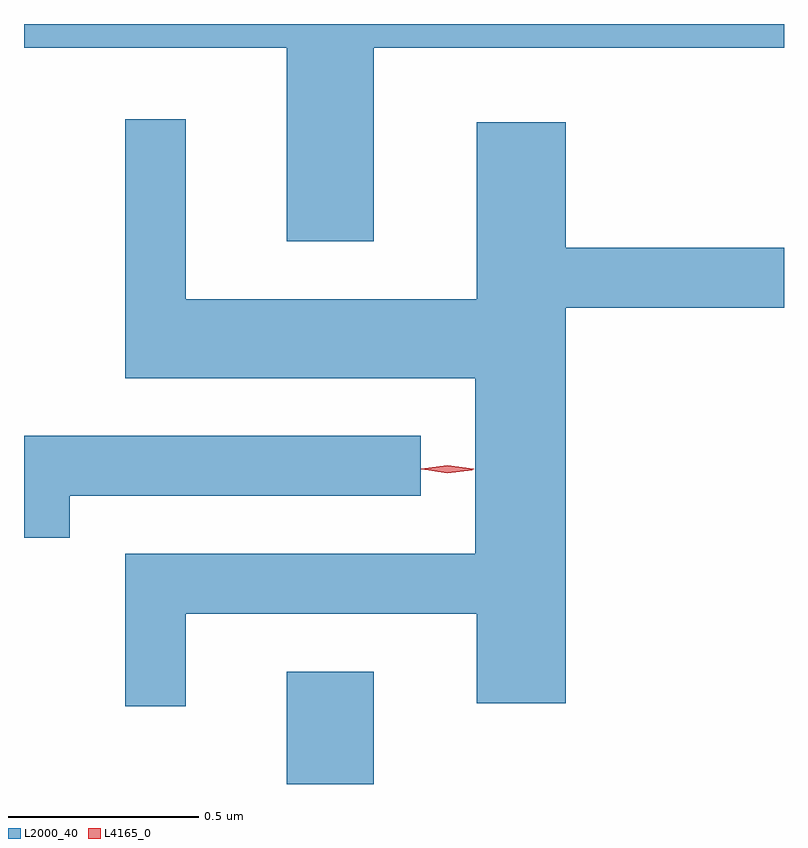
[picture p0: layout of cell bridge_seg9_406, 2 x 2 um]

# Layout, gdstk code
import gdstk
lib = gdstk.Library(unit=1e-6, precision=1e-09)
def R(c, l, rs):  # rectangles x0, y0, x1, y1
    for r in rs: c.add(gdstk.rectangle(r[:2], r[2:], *l))
def P(c, l, *ps):  # polygons
    for p in ps: c.add(gdstk.Polygon(p, *l))
L2000_40 = (2000, 40)
L4165_0 = (4165, 0)

bridge_seg9_406 = lib.new_cell('bridge_seg9_406')
R(bridge_seg9_406, L2000_40, [(1020.621,1947.698,1020.849,1947.994)])
P(bridge_seg9_406, L2000_40, [(1020.849,1949.636),(1021.929,1949.636),(1021.929,1949.698),(1019.929,1949.698),(1019.929,1949.636),(1020.621,1949.636),(1020.621,1949.126),(1020.849,1949.126)],
  [(1020.354,1948.146),(1021.121,1948.146),(1021.121,1947.911),(1021.354,1947.911),(1021.354,1948.951),(1021.929,1948.951),(1021.929,1949.109),(1021.354,1949.109),(1021.354,1949.439),(1021.121,1949.439),(1021.121,1948.974),(1020.354,1948.974),(1020.354,1949.448),(1020.196,1949.448),(1020.196,1948.766),(1021.116,1948.766),(1021.116,1948.304),(1020.196,1948.304),(1020.196,1947.903),(1020.354,1947.903)],
  [(1020.049,1948.456),(1020.973,1948.456),(1020.973,1948.614),(1019.929,1948.614),(1019.929,1948.346),(1020.049,1948.346)])
P(bridge_seg9_406, L4165_0, [(1021.043,1948.517),(1020.974,1948.526),(1020.973,1948.527),(1020.974,1948.528),(1021.043,1948.537),(1021.112,1948.527),(1021.113,1948.526),(1021.112,1948.526)],
  [(1021.043,1948.516),(1020.977,1948.526),(1020.977,1948.527),(1020.977,1948.528),(1021.043,1948.536),(1021.109,1948.525),(1021.109,1948.524),(1021.109,1948.524)])

lib.write_gds('bridge_seg9_406.gds')
